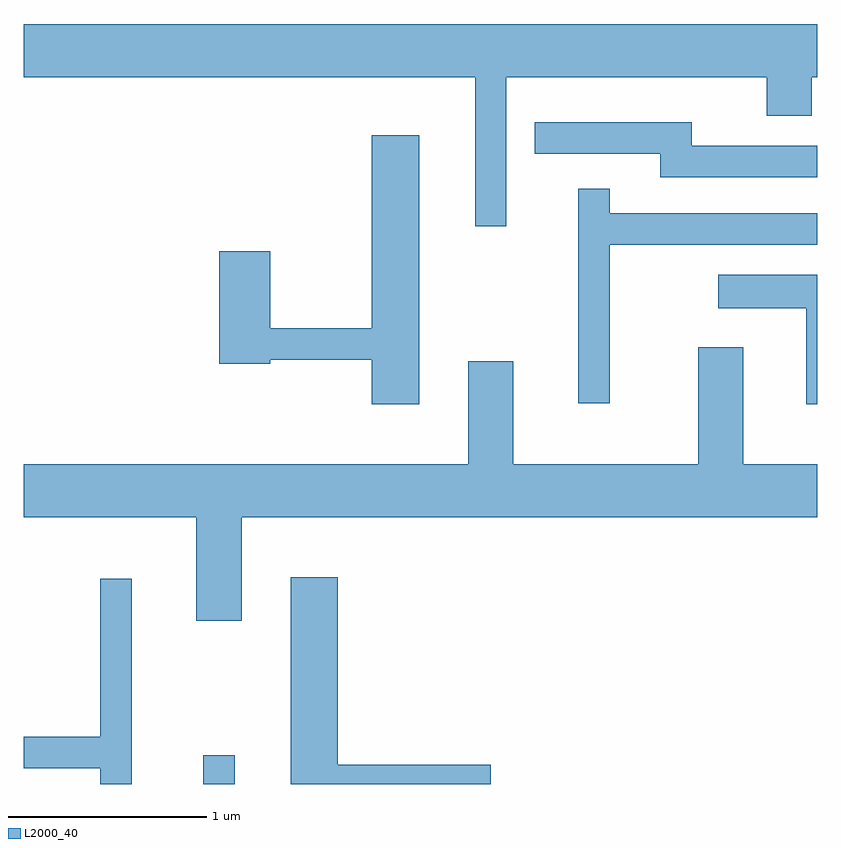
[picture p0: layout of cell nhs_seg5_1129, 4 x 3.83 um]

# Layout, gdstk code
import gdstk
lib = gdstk.Library(unit=1e-6, precision=1e-09)
def R(c, l, rs):  # rectangles x0, y0, x1, y1
    for r in rs: c.add(gdstk.rectangle(r[:2], r[2:], *l))
def P(c, l, *ps):  # polygons
    for p in ps: c.add(gdstk.Polygon(p, *l))
L2000_40 = (2000, 40)

nhs_seg5_1129 = lib.new_cell('nhs_seg5_1129')
R(nhs_seg5_1129, L2000_40, [(218.516,1502.072,218.674,1502.218)])
P(nhs_seg5_1129, L2000_40, [(220.044,1505.636),(221.356,1505.636),(221.356,1505.441),(221.584,1505.441),(221.584,1505.636),(221.611,1505.636),(221.611,1505.904),(217.611,1505.904),(217.611,1505.636),(219.886,1505.636),(219.886,1504.883),(220.044,1504.883)],
  [(221.611,1505.289),(220.979,1505.289),(220.979,1505.409),(220.188,1505.409),(220.188,1505.251),(220.821,1505.251),(220.821,1505.131),(221.611,1505.131)],
  [(219.604,1505.344),(219.366,1505.344),(219.366,1504.369),(218.854,1504.369),(218.854,1504.759),(218.596,1504.759),(218.596,1504.191),(218.854,1504.191),(218.854,1504.211),(219.366,1504.211),(219.366,1503.986),(219.604,1503.986)],
  [(220.564,1504.791),(221.611,1504.791),(221.611,1504.949),(220.564,1504.949),(220.564,1505.073),(220.406,1505.073),(220.406,1503.993),(220.564,1503.993)],
  [(221.611,1504.639),(221.113,1504.639),(221.113,1504.471),(221.556,1504.471),(221.556,1503.986),(221.611,1503.986)],
  [(218.709,1503.416),(221.611,1503.416),(221.611,1503.684),(221.239,1503.684),(221.239,1504.274),(221.011,1504.274),(221.011,1503.684),(220.079,1503.684),(220.079,1504.204),(219.851,1504.204),(219.851,1503.684),(217.611,1503.684),(217.611,1503.416),(218.481,1503.416),(218.481,1502.896),(218.709,1502.896)],
  [(219.964,1502.169),(219.194,1502.169),(219.194,1503.114),(218.956,1503.114),(218.956,1502.072),(219.964,1502.072)],
  [(218.154,1503.108),(217.996,1503.108),(217.996,1502.309),(217.611,1502.309),(217.611,1502.151),(217.996,1502.151),(217.996,1502.072),(218.154,1502.072)])

lib.write_gds('nhs_seg5_1129.gds')
